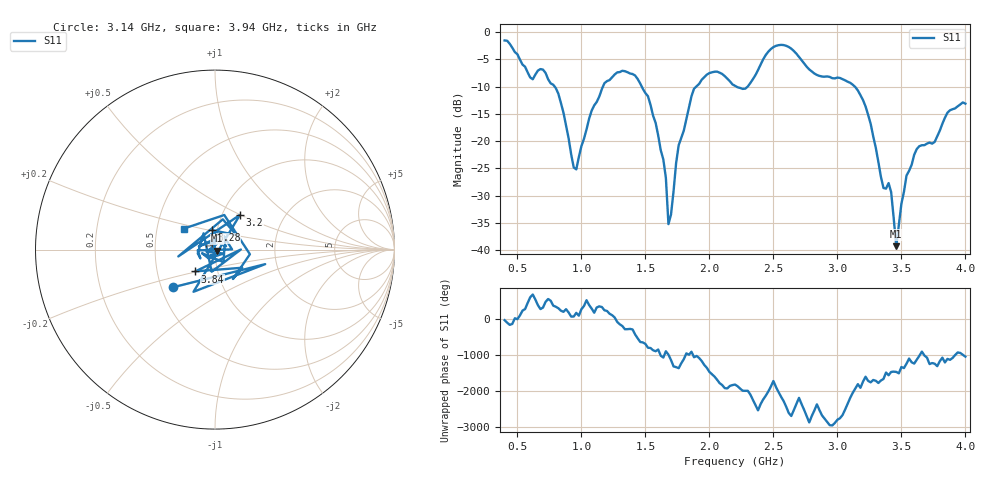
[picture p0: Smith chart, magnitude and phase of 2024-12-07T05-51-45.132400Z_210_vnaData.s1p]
!Created with skrf (http://scikit-rf.org).
# Hz S RI R 50.0
!freq ReS11 ImS11
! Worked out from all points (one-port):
!   181 points, 400 MHz to 4 GHz, reference 50 ohm
!   lowest |S11| = -39.2 dB at 3.46 GHz (marker M1), VSWR 1.02, Z = 50.9 - j0.648 ohm
!   |S11| at or under -10 dB: 790.8 MHz to 1.168 GHz (377.6 MHz wide, 38.5 % of centre); 1.471 GHz to 1.897 GHz (426.1 MHz wide, 25.3 % of centre); 3.136 GHz to end of sweep (the widest 3 of 4)
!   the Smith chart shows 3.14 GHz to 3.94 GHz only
!   S11 on the Smith chart (normalised r, x): 3.14 GHz: 0.58, -0.27; 3.2 GHz: 1.21, +0.50; 3.28 GHz: 0.94, +0.21; 3.84 GHz: 0.78, -0.19; 3.94 GHz: 0.69, +0.17
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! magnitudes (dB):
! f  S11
! 400 MHz  -1.6
! 600 MHz  -8.3
! 700 MHz  -6.9
! 860 MHz  -14.8
! 960 MHz  -25.2
! 1.08 GHz  -14.4
! 1.3 GHz  -7.3
! 1.52 GHz  -11.8
! 1.64 GHz  -23.4
! 1.66 GHz  -26.7
! 1.68 GHz  -35.2
! 1.76 GHz  -20.7
! 1.94 GHz  -8.7
! 2.2 GHz  -9.9
! 2.3 GHz  -10.0
! 2.5 GHz  -2.8
! 2.66 GHz  -3.5
! 3.1 GHz  -9.3
! 3.14 GHz  -10.1
! 3.2 GHz  -12.5
! 3.28 GHz  -19.1
! 3.36 GHz  -28.6
! 3.42 GHz  -29.4
! 3.46 GHz  -39.2
! 3.56 GHz  -25.4
! 3.84 GHz  -15.7
! 3.94 GHz  -13.6
! 4 GHz  -13.1
